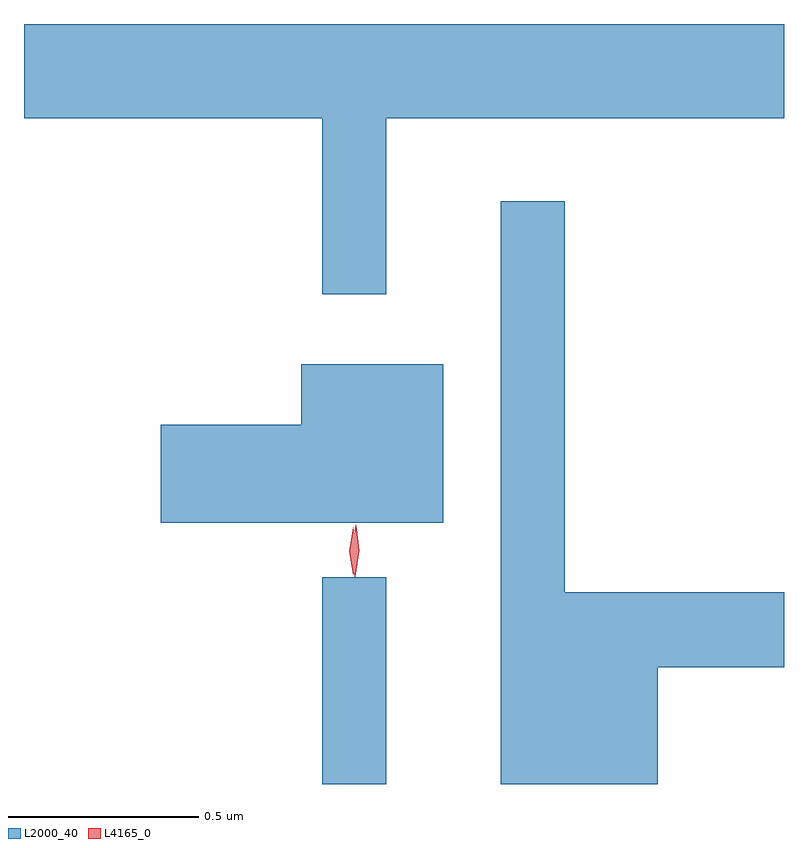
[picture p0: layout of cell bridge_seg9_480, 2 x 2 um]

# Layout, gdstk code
import gdstk
lib = gdstk.Library(unit=1e-6, precision=1e-09)
def R(c, l, rs):  # rectangles x0, y0, x1, y1
    for r in rs: c.add(gdstk.rectangle(r[:2], r[2:], *l))
def P(c, l, *ps):  # polygons
    for p in ps: c.add(gdstk.Polygon(p, *l))
L2000_40 = (2000, 40)
L4165_0 = (4165, 0)

bridge_seg9_480 = lib.new_cell('bridge_seg9_480')
R(bridge_seg9_480, L2000_40, [(428.101,1985.624,428.269,1986.168)])
P(bridge_seg9_480, L2000_40, [(428.269,1987.376),(429.316,1987.376),(429.316,1987.624),(427.316,1987.624),(427.316,1987.376),(428.101,1987.376),(428.101,1986.913),(428.269,1986.913)],
  [(428.984,1985.931),(429.316,1985.931),(429.316,1986.129),(428.739,1986.129),(428.739,1987.158),(428.571,1987.158),(428.571,1985.624),(428.984,1985.624)],
  [(428.419,1986.729),(428.046,1986.729),(428.046,1986.569),(427.676,1986.569),(427.676,1986.311),(428.419,1986.311)])
P(bridge_seg9_480, L4165_0, [(428.187,1986.17),(428.178,1986.238),(428.189,1986.305),(428.189,1986.306),(428.19,1986.305),(428.198,1986.238),(428.188,1986.17),(428.188,1986.17)],
  [(428.182,1986.173),(428.182,1986.173),(428.172,1986.236),(428.182,1986.299),(428.182,1986.3),(428.183,1986.299),(428.192,1986.236),(428.183,1986.173)])

lib.write_gds('bridge_seg9_480.gds')
